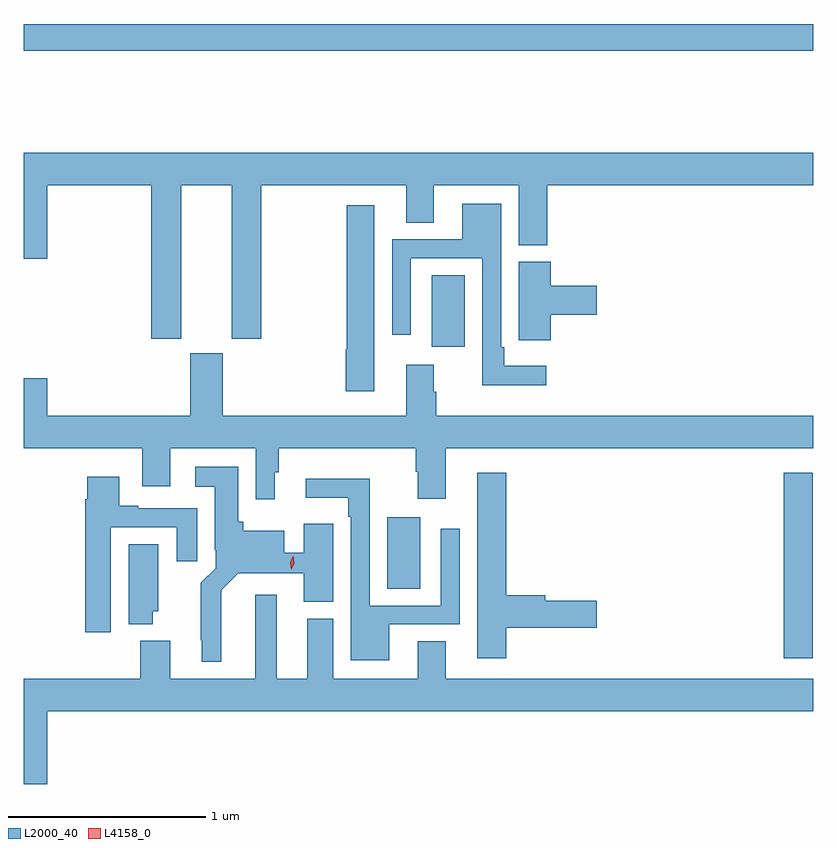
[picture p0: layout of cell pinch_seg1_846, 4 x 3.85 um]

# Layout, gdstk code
import gdstk
lib = gdstk.Library(unit=1e-6, precision=1e-09)
def R(c, l, rs):  # rectangles x0, y0, x1, y1
    for r in rs: c.add(gdstk.rectangle(r[:2], r[2:], *l))
def P(c, l, *ps):  # polygons
    for p in ps: c.add(gdstk.Polygon(p, *l))
L2000_40 = (2000, 40)
L4158_0 = (4158, 0)

pinch_seg1_846 = lib.new_cell('pinch_seg1_846')
R(pinch_seg1_846, L2000_40, [(396.674,504.048,396.82,504.988), (394.664,504.4,394.831,504.763), (394.889,505.626,395.056,505.988), (392.823,507.124,396.823,507.26)])
P(pinch_seg1_846, L2000_40, [(393.622,506.444),(393.878,506.444),(393.878,505.665),(394.026,505.665),(394.026,506.444),(394.76,506.444),(394.76,506.254),(394.9,506.254),(394.9,506.444),(395.33,506.444),(395.33,506.14),(395.474,506.14),(395.474,506.444),(396.823,506.444),(396.823,506.608),(392.823,506.608),(392.823,506.07),(392.944,506.07),(392.944,506.444),(393.47,506.444),(393.47,505.665),(393.622,505.665)],
  [(395.47,505.528),(395.257,505.528),(395.257,505.624),(395.241,505.624),(395.241,506.35),(395.045,506.35),(395.045,506.169),(394.689,506.169),(394.689,505.686),(394.785,505.686),(394.785,506.073),(395.145,506.073),(395.145,505.43),(395.47,505.43)],
  [(394.6,506.341),(394.459,506.341),(394.459,505.613),(394.454,505.613),(394.454,505.401),(394.6,505.401)],
  [(395.492,505.787),(395.725,505.787),(395.725,505.934),(395.492,505.934),(395.492,506.055),(395.33,506.055),(395.33,505.771),(395.331,505.771),(395.331,505.659),(395.492,505.659)],
  [(394.096,504.99),(394.115,504.99),(394.115,505.112),(394.808,505.112),(394.808,504.992),(394.82,504.992),(394.82,504.855),(394.96,504.855),(394.96,505.112),(396.823,505.112),(396.823,505.276),(394.913,505.276),(394.913,505.397),(394.9,505.397),(394.9,505.534),(394.76,505.534),(394.76,505.276),(393.832,505.276),(393.832,505.593),(393.668,505.593),(393.668,505.276),(392.944,505.276),(392.944,505.465),(392.823,505.465),(392.823,505.112),(393.425,505.112),(393.425,504.918),(393.565,504.918),(393.565,505.112),(393.999,505.112),(393.999,504.852),(394.096,504.852)],
  [(393.823,504.392),(393.909,504.479),(394.241,504.479),(394.241,504.334),(394.39,504.334),(394.39,504.73),(394.241,504.73),(394.241,504.581),(394.144,504.581),(394.144,504.694),(393.936,504.694),(393.936,504.738),(393.91,504.738),(393.91,505.018),(393.693,505.018),(393.693,504.917),(393.791,504.917),(393.791,504.598),(393.795,504.598),(393.795,504.504),(393.721,504.43),(393.721,504.139),(393.725,504.139),(393.725,504.029),(393.823,504.029)],
  [(395.267,504.203),(395.725,504.203),(395.725,504.338),(395.464,504.338),(395.464,504.368),(395.267,504.368),(395.267,504.988),(395.12,504.988),(395.12,504.048),(395.267,504.048)],
  [(393.265,504.711),(393.599,504.711),(393.599,504.54),(393.703,504.54),(393.703,504.807),(393.403,504.807),(393.403,504.82),(393.307,504.82),(393.307,504.967),(393.146,504.967),(393.146,504.854),(393.134,504.854),(393.134,504.18),(393.265,504.18)],
  [(394.675,504.219),(395.031,504.219),(395.031,504.703),(394.935,504.703),(394.935,504.315),(394.575,504.315),(394.575,504.958),(394.251,504.958),(394.251,504.86),(394.467,504.86),(394.467,504.764),(394.479,504.764),(394.479,504.038),(394.675,504.038)],
  [(393.478,504.285),(393.505,504.285),(393.505,504.626),(393.356,504.626),(393.356,504.221),(393.478,504.221)],
  [(392.944,503.78),(396.823,503.78),(396.823,503.944),(394.96,503.944),(394.96,504.134),(394.82,504.134),(394.82,503.944),(394.39,503.944),(394.39,504.249),(394.259,504.249),(394.259,503.944),(394.105,503.944),(394.105,504.37),(393.995,504.37),(393.995,503.944),(393.565,503.944),(393.565,504.136),(393.413,504.136),(393.413,503.944),(392.823,503.944),(392.823,503.411),(392.944,503.411)])
P(pinch_seg1_846, L4158_0, [(394.179,504.495),(394.179,504.495),(394.174,504.532),(394.189,504.566),(394.189,504.566),(394.189,504.566),(394.194,504.529),(394.179,504.495)])

lib.write_gds('pinch_seg1_846.gds')
